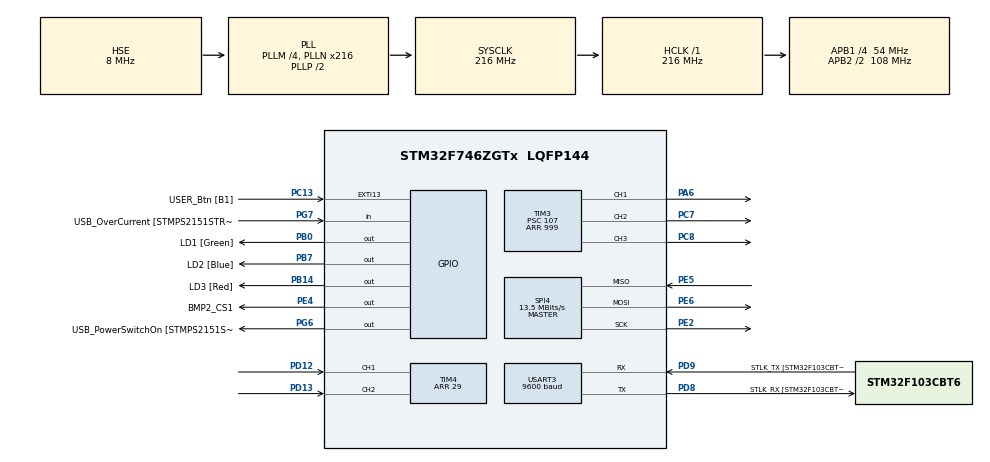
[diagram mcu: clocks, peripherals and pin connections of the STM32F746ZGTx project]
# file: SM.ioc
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Mcu.Family=STM32F7
Mcu.Name=STM32F746ZGTx
Mcu.Package=LQFP144
NVIC.EXTI15_10_IRQn=true\:0\:0\:false\:false\:true\:true\:true\:true
NVIC.PriorityGroup=NVIC_PRIORITYGROUP_4
NVIC.SPI4_IRQn=true\:0\:0\:false\:false\:true\:true\:true\:true
NVIC.TIM2_IRQn=true\:0\:0\:false\:false\:true\:true\:true\:true
NVIC.TIM3_IRQn=true\:0\:0\:false\:false\:true\:true\:true\:true
NVIC.TIM4_IRQn=true\:0\:0\:false\:false\:true\:true\:true\:true
NVIC.TIM5_IRQn=true\:0\:0\:false\:false\:true\:true\:true\:true
NVIC.USART3_IRQn=true\:0\:0\:false\:false\:true\:true\:true\:true
PA1.GPIO_Label=RMII_REF_CLK [LAN8742A-CZ-TR_REFCLK0]
PA1.Signal=ETH_REF_CLK
PA10.GPIO_Label=USB_ID
PA10.Signal=USB_OTG_FS_ID
PA11.GPIO_Label=USB_DM
PA11.Signal=USB_OTG_FS_DM
PA12.GPIO_Label=USB_DP
PA12.Signal=USB_OTG_FS_DP
PA13.GPIO_Label=TMS
PA13.Mode=Serial_Wire
PA13.Signal=SYS_JTMS-SWDIO
PA14.GPIO_Label=TCK
PA14.Mode=Serial_Wire
PA14.Signal=SYS_JTCK-SWCLK
PA2.GPIO_Label=RMII_MDIO [LAN8742A-CZ-TR_MDIO]
PA2.Signal=ETH_MDIO
PA6.Signal=S_TIM3_CH1
PA7.GPIO_Label=RMII_CRS_DV [LAN8742A-CZ-TR_CRS_DV]
PA7.Signal=ETH_CRS_DV
PA8.GPIO_Label=USB_SOF [TP1]
PA8.Signal=USB_OTG_FS_SOF
PA9.GPIO_Label=USB_VBUS
PA9.Signal=USB_OTG_FS_VBUS
PB0.GPIO_Label=LD1 [Green]
PB0.Signal=GPIO_Output
PB13.GPIO_Label=RMII_TXD1 [LAN8742A-CZ-TR_TXD1]
PB13.Signal=ETH_TXD1
PB14.GPIO_Label=LD3 [Red]
PB14.Signal=GPIO_Output
PB3.GPIO_Label=SW0
PB3.Signal=SYS_JTDO-SWO
PB7.GPIO_Label=LD2 [Blue]
PB7.Signal=GPIO_Output
PC1.GPIO_Label=RMII_MDC [LAN8742A-CZ-TR_MDC]
PC1.Signal=ETH_MDC
PC13.GPIO_Label=USER_Btn [B1]
PC13.Signal=GPXTI13
PC14/OSC32_IN.Mode=LSE-External-Oscillator
PC14/OSC32_IN.Signal=RCC_OSC32_IN
PC15/OSC32_OUT.Mode=LSE-External-Oscillator
PC15/OSC32_OUT.Signal=RCC_OSC32_OUT
PC4.GPIO_Label=RMII_RXD0 [LAN8742A-CZ-TR_RXD0]
PC4.Signal=ETH_RXD0
PC5.GPIO_Label=RMII_RXD1 [LAN8742A-CZ-TR_RXD1]
PC5.Signal=ETH_RXD1
PC7.Signal=S_TIM3_CH2
PC8.Signal=S_TIM3_CH3
PD12.Signal=S_TIM4_CH1
PD13.Signal=S_TIM4_CH2
PD8.GPIO_Label=STLK_RX [STM32F103CBT6_PA3]
PD8.GPIO_PuPd=GPIO_PULLUP
PD8.Mode=Asynchronous
PD8.Signal=USART3_TX
PD9.GPIO_Label=STLK_TX [STM32F103CBT6_PA2]
PD9.GPIO_PuPd=GPIO_PULLUP
PD9.Mode=Asynchronous
PD9.Signal=USART3_RX
PE2.Mode=Full_Duplex_Master
PE2.Signal=SPI4_SCK
PE4.GPIO_Label=BMP2_CS1
PE4.GPIO_Speed=GPIO_SPEED_FREQ_HIGH
PE4.PinState=GPIO_PIN_SET
PE4.Signal=GPIO_Output
PE5.Mode=Full_Duplex_Master
PE5.Signal=SPI4_MISO
PE6.Mode=Full_Duplex_Master
PE6.Signal=SPI4_MOSI
PG11.GPIO_Label=RMII_TX_EN [LAN8742A-CZ-TR_TXEN]
PG11.Signal=ETH_TX_EN
PG13.GPIO_Label=RMII_TXD0 [LAN8742A-CZ-TR_TXD0]
PG13.Signal=ETH_TXD0
PG6.GPIO_Label=USB_PowerSwitchOn [STMPS2151STR_EN]
PG6.Signal=GPIO_Output
PG7.GPIO_Label=USB_OverCurrent [STMPS2151STR_FAULT]
PG7.Signal=GPIO_Input
PH0/OSC_IN.GPIO_Label=MCO [STM32F103CBT6_PA8]
PH0/OSC_IN.Mode=HSE-External-Clock-Source
PH0/OSC_IN.Signal=RCC_OSC_IN
PH1/OSC_OUT.Mode=HSE-External-Clock-Source
PH1/OSC_OUT.Signal=RCC_OSC_OUT
ProjectManager.HeapSize=0x200
ProjectManager.StackSize=0x400
ProjectManager.TargetToolchain=STM32CubeIDE
RCC.48MHZClocksFreq_Value=24000000
RCC.AHBFreq_Value=216000000
RCC.APB1CLKDivider=RCC_HCLK_DIV4
RCC.APB1Freq_Value=54000000
RCC.APB1TimFreq_Value=108000000
RCC.APB2CLKDivider=RCC_HCLK_DIV2
RCC.APB2Freq_Value=108000000
RCC.APB2TimFreq_Value=216000000
RCC.CortexFreq_Value=216000000
RCC.HCLKFreq_Value=216000000
RCC.HSE_VALUE=8000000
RCC.HSI_VALUE=16000000
RCC.PLLM=4
RCC.PLLMUL=RCC_PLL_MUL9
RCC.PLLN=216
RCC.PLLQ=9
RCC.PLLSourceVirtual=RCC_PLLSOURCE_HSE
RCC.PRESCALERUSB=RCC_USBCLKSOURCE_PLL_DIV1_5
RCC.SYSCLKFreq_VALUE=216000000
RCC.SYSCLKSource=RCC_SYSCLKSOURCE_PLLCLK
RCC.SYSCLKSourceVirtual=RCC_SYSCLKSOURCE_PLLCLK
RCC.USBFreq_Value=48000000
RCC.VCOOutputFreq_Value=432000000
SH.S_TIM3_CH1.0=TIM3_CH1,PWM Generation1 CH1
SH.S_TIM3_CH2.0=TIM3_CH2,PWM Generation2 CH2
SH.S_TIM3_CH3.0=TIM3_CH3,PWM Generation3 CH3
SH.S_TIM4_CH1.0=TIM4_CH1,Encoder_Interface
SH.S_TIM4_CH2.0=TIM4_CH2,Encoder_Interface
SPI4.BaudRatePrescaler=SPI_BAUDRATEPRESCALER_8
SPI4.CLKPhase=SPI_PHASE_2EDGE
SPI4.CLKPolarity=SPI_POLARITY_HIGH
SPI4.CalculateBaudRate=13.5 MBits/s
SPI4.DataSize=SPI_DATASIZE_8BIT
SPI4.Direction=SPI_DIRECTION_2LINES
SPI4.Mode=SPI_MODE_MASTER
SPI4.VirtualType=VM_MASTER
TIM2.Period=999999
TIM2.Prescaler=107
TIM3.AutoReloadPreload=TIM_AUTORELOAD_PRELOAD_ENABLE
TIM3.Channel-PWM\ Generation1\ CH1=TIM_CHANNEL_1
TIM3.Channel-PWM\ Generation2\ CH2=TIM_CHANNEL_2
TIM3.Channel-PWM\ Generation3\ CH3=TIM_CHANNEL_3
TIM3.OCPolarity_1=TIM_OCPOLARITY_HIGH
TIM3.OCPolarity_2=TIM_OCPOLARITY_HIGH
TIM3.OCPolarity_3=TIM_OCPOLARITY_HIGH
TIM3.Period=999
TIM3.Prescaler=107
TIM4.Period=29
TIM5.Period=999
TIM5.Prescaler=107
USART3.BaudRate=9600
USART3.VirtualMode-Asynchronous=VM_ASYNC
VP_TIM2_VS_ClockSourceINT.Mode=Internal
VP_TIM3_VS_ClockSourceINT.Mode=Internal
VP_TIM5_VS_ClockSourceINT.Mode=Internal
board=NUCLEO-F746ZG

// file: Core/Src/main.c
/* USER CODE BEGIN Header */
/**
  ******************************************************************************
  * @file           : main.c
  * @brief          : Main program body
  ******************************************************************************
  * @attention
  *
  * Copyright (c) 2023 STMicroelectronics.
  * All rights reserved.
  *
  * This software is licensed under terms that can be found in the LICENSE file
  * in the root directory of this software component.
  * If no LICENSE file comes with this software, it is provided AS-IS.
  *
  ******************************************************************************
  */
/* USER CODE END Header */
#include "main.h"
#include "spi.h"
#include "tim.h"
#include "usart.h"
#include "gpio.h"

/* USER CODE BEGIN Includes */
#include <string.h>
#include <stdio.h>
#include <stdlib.h>
#include "bmp2_config.h"
/* USER CODE END Includes */

/* USER CODE BEGIN PV */
int duty;  // [%]
double temp = 0;     // [degC]
double output = 0;
const int rx_len = 2;
uint8_t rx_sign;
uint16_t count = 0;

double setpoint = 50;
/* USER CODE END PV */

void SystemClock_Config(void);
/* USER CODE BEGIN PFP */
unsigned int temp_int;
unsigned int setpoint_int;
unsigned int output_int;
/* USER CODE END PFP */

/* USER CODE BEGIN 0 */
void PID_Control(double measured_value) {
	double kp = 100;
	double ki = 0.15;

	double previous_error = 0;
	double integral = 0;
    double error = setpoint - measured_value;

    double proportional = kp*error;

    if (measured_value < 0.99*setpoint){ // ANTI-WINDUP
    	integral = 0;}
    else{
    	integral += ki*error;}

    output = proportional+integral;

    if (output < 0)
    {
    	output = 0;
    }
    duty = output;
    if (duty > 100)
    {
    	duty = 100;
    }
    __HAL_TIM_SET_COMPARE(&htim3, TIM_CHANNEL_3, 10*duty);

    previous_error = error;
}

void HAL_TIM_PeriodElapsedCallback(TIM_HandleTypeDef *htim)
{
	if(htim->Instance == TIM5)
	{
		temp = BMP2_ReadTemperature_degC(&bmp2dev_1);
		temp_int = 1000*temp;
		PID_Control(temp);
	}

	if(htim == &htim2)
	{

	    setpoint_int = 1000*setpoint;
	    output_int = 1000*output;
	    uint8_t tx_buffer[64];
	    int tx_msg_len = sprintf((char*)tx_buffer, "Temperature: %2u.%03u, Setpoint: %2u.%03u, Control: %2u.%03u\r\n",
	    			temp_int / 1000, temp_int % 1000,
					setpoint_int / 1000, setpoint_int % 1000,
					output_int / 1000, output_int % 1000);
	    HAL_UART_Transmit(&huart3, tx_buffer, tx_msg_len, 100);
//	    int tx_msg_len = sprintf((char*)tx_buffer, "%2u%03u\r", temp_int / 1000, temp_int % 1000);
//	    HAL_UART_Transmit(&huart3, tx_buffer, tx_msg_len, 100);
	}
}

void HAL_TIM_IC_CaptureCallback(TIM_HandleTypeDef *htim)
{
	count = __HAL_TIM_GET_COUNTER(&htim4);
	setpoint = count*5;
	if (setpoint > 80)
	{
		setpoint = 80;
	}
}
/* USER CODE END 0 */

int main(void)
{

  /* MCU Configuration--------------------------------------------------------*/

  /* Reset of all peripherals, Initializes the Flash interface and the Systick. */
  HAL_Init();

  /* Configure the system clock */
  SystemClock_Config();

  /* Initialize all configured peripherals */
  MX_GPIO_Init();
  MX_USART3_UART_Init();
  MX_TIM2_Init();
  MX_TIM3_Init();
  MX_SPI4_Init();
  MX_TIM4_Init();
  MX_TIM5_Init();
  /* USER CODE BEGIN 2 */
  BMP2_Init(&bmp2dev_1);
  HAL_UART_Receive_IT (&huart3, &rx_sign, rx_len);
  HAL_TIM_Base_Start_IT(&htim2);
  HAL_TIM_PWM_Start(&htim3, TIM_CHANNEL_3);
  //HAL_TIM_Encoder_Start(&htim4, TIM_CHANNEL_ALL);
  HAL_TIM_Encoder_Start_IT(&htim4, TIM_CHANNEL_ALL);
  HAL_TIM_Base_Start_IT(&htim5);
  /* USER CODE END 2 */

  /* Infinite loop */
  /* USER CODE BEGIN WHILE */
   while (1)
  {
//	  count = __HAL_TIM_GET_COUNTER(&htim4);
//	  setpoint = count*5;
//	  if (setpoint > 80)
//	  {
//		  setpoint = 80;
//	  }
    /* USER CODE END WHILE */

  }
}

void SystemClock_Config(void)
{
  RCC_OscInitTypeDef RCC_OscInitStruct = {0};
  RCC_ClkInitTypeDef RCC_ClkInitStruct = {0};

  /** Configure LSE Drive Capability
  */
  HAL_PWR_EnableBkUpAccess();

  /** Configure the main internal regulator output voltage
  */
  __HAL_RCC_PWR_CLK_ENABLE();
  __HAL_PWR_VOLTAGESCALING_CONFIG(PWR_REGULATOR_VOLTAGE_SCALE1);

  /** Initializes the RCC Oscillators according to the specified parameters
  * in the RCC_OscInitTypeDef structure.
  */
  RCC_OscInitStruct.OscillatorType = RCC_OSCILLATORTYPE_HSE;
  RCC_OscInitStruct.HSEState = RCC_HSE_BYPASS;
  RCC_OscInitStruct.PLL.PLLState = RCC_PLL_ON;
  RCC_OscInitStruct.PLL.PLLSource = RCC_PLLSOURCE_HSE;
  RCC_OscInitStruct.PLL.PLLM = 4;
  RCC_OscInitStruct.PLL.PLLN = 216;
  RCC_OscInitStruct.PLL.PLLP = RCC_PLLP_DIV2;
  RCC_OscInitStruct.PLL.PLLQ = 9;
  if (HAL_RCC_OscConfig(&RCC_OscInitStruct) != HAL_OK)
  {
    Error_Handler();
  }

  /** Activate the Over-Drive mode
  */
  if (HAL_PWREx_EnableOverDrive() != HAL_OK)
  {
    Error_Handler();
  }

  /** Initializes the CPU, AHB and APB buses clocks
  */
  RCC_ClkInitStruct.ClockType = RCC_CLOCKTYPE_HCLK|RCC_CLOCKTYPE_SYSCLK
                              |RCC_CLOCKTYPE_PCLK1|RCC_CLOCKTYPE_PCLK2;
  RCC_ClkInitStruct.SYSCLKSource = RCC_SYSCLKSOURCE_PLLCLK;
  RCC_ClkInitStruct.AHBCLKDivider = RCC_SYSCLK_DIV1;
  RCC_ClkInitStruct.APB1CLKDivider = RCC_HCLK_DIV4;
  RCC_ClkInitStruct.APB2CLKDivider = RCC_HCLK_DIV2;

  if (HAL_RCC_ClockConfig(&RCC_ClkInitStruct, FLASH_LATENCY_7) != HAL_OK)
  {
    Error_Handler();
  }
}

/* USER CODE BEGIN 4 */
void HAL_UART_RxCpltCallback(UART_HandleTypeDef *huart)
{
	if(huart->Instance == USART3)
	{
		int rx_temp = strtol((char*)&rx_sign, 0, 10);
		setpoint = rx_temp;
		HAL_UART_Receive_IT(&huart3, &rx_sign, rx_len);
	}
}
/* USER CODE END 4 */

void Error_Handler(void)
{
  __disable_irq();
  while (1)
  {
  }
}
